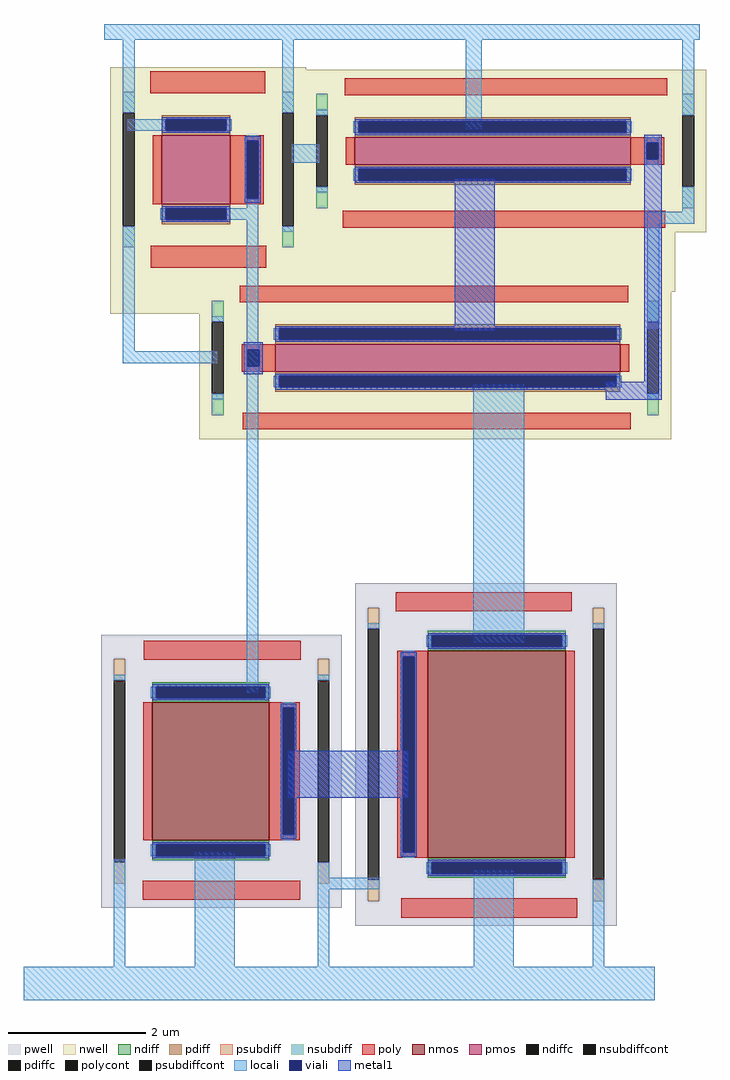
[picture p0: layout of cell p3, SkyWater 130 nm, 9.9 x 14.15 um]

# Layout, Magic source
magic
tech sky130B
magscale 1 2
<< nwell >>
rect 802 2054 1890 2286
<< locali >>
rect 1282 2784 1961 2830
rect 1282 2525 1328 2784
rect 1910 2566 1944 2784
rect 778 2428 858 2482
rect 1910 2285 1944 2358
rect 1809 2251 1944 2285
rect 1809 1947 1843 2251
<< metal1 >>
rect 1250 1940 1366 2382
rect 1799 1792 1851 2438
rect 1688 1740 1851 1792
use M9  M9_0 
transform 0 1 1396 -1 0 2462
box -236 -584 236 584
use p2  p2_0
transform 1 0 0 0 1 0
box 0 0 1878 2830
<< end >>

# cell M9: kit device sky130_fd_pr__pfet_01v8, w 4 l .4 m 1 nf 1 diffcov 100 polycov 100 guard 1 glc 0 grc 0 gtc 1 gbc 1 tbcov 100 rlcov 100 topc 1 botc 0 poverlap 0 doverlap 1 lmin 0.15 wmin 0.42 compatible {sky130_fd_pr__pfet_01v8 sky130_fd_pr__pfet_01v8_lvt sky130_fd_pr__pfet_01v8_hvt sky130_fd_pr__pfet_g5v0d10v5} full_metal 0 viasrc 100 viadrn 100 viagate 100 viagb 0 viagr 0 viagl 0 viagt 0

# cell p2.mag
magic
tech sky130B
magscale 1 2
<< nwell >>
rect 252 1990 822 2162
<< locali >>
rect 234 2784 1328 2830
rect 288 2572 322 2784
rect 750 2572 784 2784
rect 301 2520 412 2554
rect 647 2296 681 2324
rect 588 2262 681 2296
rect 288 1881 322 2244
rect 288 1847 561 1881
rect 647 891 681 2262
rect 1304 1036 1452 1786
use M10  M10_0 
transform 0 -1 1194 -1 0 1862
box -236 -684 236 684
use M21  M21_0 
transform 0 1 536 1 0 2408
box -296 -284 296 284
use p1  p1_0
transform 1 0 946 0 1 838
box -946 -838 884 370
<< end >>

# cell M10: kit device sky130_fd_pr__pfet_01v8, w 5 l .4 m 1 nf 1 diffcov 100 polycov 100 guard 1 glc 0 grc 0 gtc 1 gbc 1 tbcov 100 rlcov 100 topc 1 botc 0 poverlap 0 doverlap 1 lmin 0.15 wmin 0.42 compatible {sky130_fd_pr__pfet_01v8 sky130_fd_pr__pfet_01v8_lvt sky130_fd_pr__pfet_01v8_hvt sky130_fd_pr__pfet_g5v0d10v5} full_metal 0 viasrc 100 viadrn 100 viagate 100 viagb 0 viagr 0 viagl 0 viagt 0

# cell M21: kit device sky130_fd_pr__pfet_01v8, w 1 l 1 m 1 nf 1 diffcov 100 polycov 100 guard 1 glc 0 grc 0 gtc 1 gbc 1 tbcov 100 rlcov 100 topc 1 botc 0 poverlap 0 doverlap 1 lmin 0.15 wmin 0.42 compatible {sky130_fd_pr__pfet_01v8 sky130_fd_pr__pfet_01v8_lvt sky130_fd_pr__pfet_01v8_hvt sky130_fd_pr__pfet_g5v0d10v5} full_metal 0 viasrc 100 viadrn 100 viagate 100 viagb 0 viagr 0 viagl 0 viagt 0

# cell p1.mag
magic
tech sky130B
magscale 1 2
<< locali >>
rect -685 -742 -651 -430
rect -450 -742 -334 -410
rect -93 -483 -59 -439
rect -93 -517 87 -483
rect -93 -742 -59 -517
rect 360 -742 476 -462
rect 704 -742 738 -490
rect -946 -838 884 -742
<< metal1 >>
rect -180 -252 170 -116
use M8  M8_0 
transform 0 -1 395 1 0 -126
box -496 -379 496 379
use M22  M22_0 
transform 0 1 -372 1 0 -175
box -396 -349 396 349
<< end >>

# cell M8: kit device sky130_fd_pr__nfet_01v8, w 2 l 3 m 1 nf 1 diffcov 100 polycov 100 guard 1 glc 0 grc 0 gtc 1 gbc 1 tbcov 100 rlcov 100 topc 1 botc 0 poverlap 0 doverlap 1 lmin 0.15 wmin 0.42 compatible {sky130_fd_pr__nfet_01v8 sky130_fd_pr__nfet_01v8_lvt sky130_fd_bs_flash__special_sonosfet_star sky130_fd_pr__nfet_g5v0d10v5 sky130_fd_pr__nfet_05v0_nvt sky130_fd_pr__nfet_03v3_nvt} full_metal 0 viasrc 100 viadrn 100 viagate 100 viagb 0 viagr 0 viagl 0 viagt 0

# cell M22: kit device sky130_fd_pr__nfet_01v8, w 1.7 l 2 m 1 nf 1 diffcov 100 polycov 100 guard 1 glc 0 grc 0 gtc 1 gbc 1 tbcov 100 rlcov 100 topc 1 botc 0 poverlap 0 doverlap 1 lmin 0.15 wmin 0.42 compatible {sky130_fd_pr__nfet_01v8 sky130_fd_pr__nfet_01v8_lvt sky130_fd_bs_flash__special_sonosfet_star sky130_fd_pr__nfet_g5v0d10v5 sky130_fd_pr__nfet_05v0_nvt sky130_fd_pr__nfet_03v3_nvt} full_metal 0 viasrc 100 viadrn 100 viagate 100 viagb 0 viagr 0 viagl 0 viagt 0
